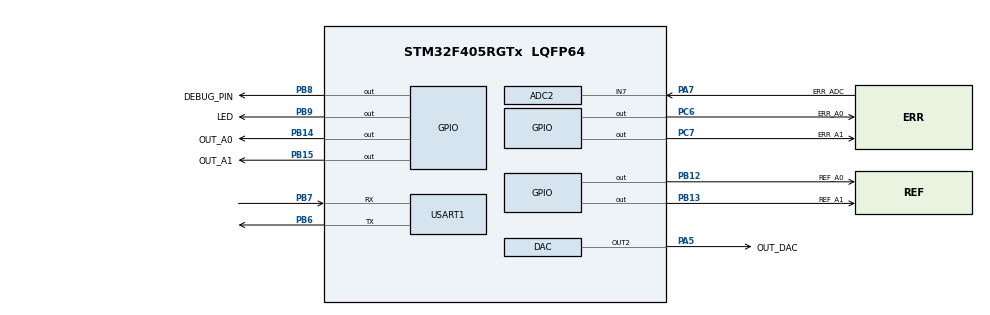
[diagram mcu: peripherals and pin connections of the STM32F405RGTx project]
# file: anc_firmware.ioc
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ADC2.Channel-0\#ChannelRegularConversion=ADC_CHANNEL_7
ADC2.ClockPrescaler=ADC_CLOCK_SYNC_PCLK_DIV4
ADC2.ExternalTrigConv=ADC_EXTERNALTRIGCONV_T2_TRGO
ADC2.NbrOfConversionFlag=1
ADC2.Rank-0\#ChannelRegularConversion=1
ADC2.SamplingTime-0\#ChannelRegularConversion=ADC_SAMPLETIME_112CYCLES
DAC.DAC_Trigger2=DAC_TRIGGER_SOFTWARE
Dma.DAC2.0.Direction=DMA_MEMORY_TO_PERIPH
Dma.DAC2.0.FIFOMode=DMA_FIFOMODE_DISABLE
Dma.DAC2.0.Instance=DMA1_Stream6
Dma.DAC2.0.MemDataAlignment=DMA_MDATAALIGN_HALFWORD
Dma.DAC2.0.MemInc=DMA_MINC_ENABLE
Dma.DAC2.0.Mode=DMA_NORMAL
Dma.DAC2.0.PeriphDataAlignment=DMA_PDATAALIGN_HALFWORD
Dma.DAC2.0.PeriphInc=DMA_PINC_DISABLE
Dma.DAC2.0.Priority=DMA_PRIORITY_LOW
Dma.Request0=DAC2
Dma.Request1=USART1_TX
Dma.USART1_TX.1.Direction=DMA_MEMORY_TO_PERIPH
Dma.USART1_TX.1.FIFOMode=DMA_FIFOMODE_DISABLE
Dma.USART1_TX.1.Instance=DMA2_Stream7
Dma.USART1_TX.1.MemDataAlignment=DMA_MDATAALIGN_BYTE
Dma.USART1_TX.1.MemInc=DMA_MINC_ENABLE
Dma.USART1_TX.1.Mode=DMA_NORMAL
Dma.USART1_TX.1.PeriphDataAlignment=DMA_PDATAALIGN_BYTE
Dma.USART1_TX.1.PeriphInc=DMA_PINC_DISABLE
Dma.USART1_TX.1.Priority=DMA_PRIORITY_HIGH
Mcu.Family=STM32F4
Mcu.Name=STM32F405RGTx
Mcu.Package=LQFP64
NVIC.ADC_IRQn=true\:0\:0\:false\:false\:true\:true\:true
NVIC.DMA1_Stream6_IRQn=true\:0\:0\:false\:false\:true\:false\:true
NVIC.DMA2_Stream7_IRQn=true\:0\:0\:false\:false\:true\:false\:true
NVIC.PriorityGroup=NVIC_PRIORITYGROUP_4
PA13.Mode=Trace_Asynchronous_SW
PA13.Signal=SYS_JTMS-SWDIO
PA14.Mode=Trace_Asynchronous_SW
PA14.Signal=SYS_JTCK-SWCLK
PA5.GPIO_Label=OUT_DAC
PA5.Signal=COMP_DAC2_group
PA7.GPIO_Label=ERR_ADC
PA7.Signal=ADCx_IN7
PB12.GPIO_Label=REF_A0
PB12.Signal=GPIO_Output
PB13.GPIO_Label=REF_A1
PB13.Signal=GPIO_Output
PB14.GPIO_Label=OUT_A0
PB14.Signal=GPIO_Output
PB15.GPIO_Label=OUT_A1
PB15.Signal=GPIO_Output
PB3.Mode=Trace_Asynchronous_SW
PB3.Signal=SYS_JTDO-SWO
PB6.Mode=Asynchronous
PB6.Signal=USART1_TX
PB7.Mode=Asynchronous
PB7.Signal=USART1_RX
PB8.GPIO_Label=DEBUG_PIN
PB8.GPIO_Speed=GPIO_SPEED_FREQ_HIGH
PB8.Signal=GPIO_Output
PB9.GPIO_Label=LED
PB9.Signal=GPIO_Output
PC6.GPIO_Label=ERR_A0
PC6.Signal=GPIO_Output
PC7.GPIO_Label=ERR_A1
PC7.Signal=GPIO_Output
PH0-OSC_IN.Mode=HSE-External-Oscillator
PH0-OSC_IN.Signal=RCC_OSC_IN
PH1-OSC_OUT.Mode=HSE-External-Oscillator
PH1-OSC_OUT.Signal=RCC_OSC_OUT
ProjectManager.HeapSize=0x200
ProjectManager.StackSize=0x400
ProjectManager.TargetToolchain=STM32CubeIDE
RCC.48MHZClocksFreq_Value=84000000
RCC.AHBFreq_Value=168000000
RCC.APB1CLKDivider=RCC_HCLK_DIV4
RCC.APB1Freq_Value=42000000
RCC.APB1TimFreq_Value=84000000
RCC.APB2CLKDivider=RCC_HCLK_DIV16
RCC.APB2Freq_Value=10500000
RCC.APB2TimFreq_Value=21000000
RCC.CortexFreq_Value=168000000
RCC.HCLKFreq_Value=168000000
RCC.HSE_VALUE=16000000
RCC.HSI_VALUE=16000000
RCC.LSE_VALUE=32768
RCC.PLLM=8
RCC.PLLN=168
RCC.PLLSourceVirtual=RCC_PLLSOURCE_HSE
RCC.SYSCLKFreq_VALUE=168000000
RCC.SYSCLKSource=RCC_SYSCLKSOURCE_PLLCLK
RCC.VCOOutputFreq_Value=336000000
SH.ADCx_IN7.0=ADC2_IN7,IN7
SH.COMP_DAC2_group.0=DAC_OUT2,DAC_OUT2
TIM2.Period=4
TIM2.Prescaler=1049
TIM2.TIM_MasterOutputTrigger=TIM_TRGO_UPDATE
USART1.VirtualMode=VM_ASYNC
VP_TIM2_VS_ClockSourceINT.Mode=Internal
board=custom

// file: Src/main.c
/* USER CODE BEGIN Header */
/**
  ******************************************************************************
  * @file           : main.c
  * @brief          : Main program body
  ******************************************************************************
  ** This notice applies to any and all portions of this file
  * that are not between comment pairs USER CODE BEGIN and
  * USER CODE END. Other portions of this file, whether
  * inserted by the user or by software development tools
  * are owned by their respective copyright owners.
  *
  * COPYRIGHT(c) 2019 STMicroelectronics
  *
  * Redistribution and use in source and binary forms, with or without modification,
  * are permitted provided that the following conditions are met:
  *   1. Redistributions of source code must retain the above copyright notice,
  *      this list of conditions and the following disclaimer.
  *   2. Redistributions in binary form must reproduce the above copyright notice,
  *      this list of conditions and the following disclaimer in the documentation
  *      and/or other materials provided with the distribution.
  *   3. Neither the name of STMicroelectronics nor the names of its contributors
  *      may be used to endorse or promote products derived from this software
  *      without specific prior written permission.
  *
  * THIS SOFTWARE IS PROVIDED BY THE COPYRIGHT HOLDERS AND CONTRIBUTORS "AS IS"
  * AND ANY EXPRESS OR IMPLIED WARRANTIES, INCLUDING, BUT NOT LIMITED TO, THE
  * IMPLIED WARRANTIES OF MERCHANTABILITY AND FITNESS FOR A PARTICULAR PURPOSE ARE
  * DISCLAIMED. IN NO EVENT SHALL THE COPYRIGHT HOLDER OR CONTRIBUTORS BE LIABLE
  * FOR ANY DIRECT, INDIRECT, INCIDENTAL, SPECIAL, EXEMPLARY, OR CONSEQUENTIAL
  * DAMAGES (INCLUDING, BUT NOT LIMITED TO, PROCUREMENT OF SUBSTITUTE GOODS OR
  * SERVICES; LOSS OF USE, DATA, OR PROFITS; OR BUSINESS INTERRUPTION) HOWEVER
  * CAUSED AND ON ANY THEORY OF LIABILITY, WHETHER IN CONTRACT, STRICT LIABILITY,
  * OR TORT (INCLUDING NEGLIGENCE OR OTHERWISE) ARISING IN ANY WAY OUT OF THE USE
  * OF THIS SOFTWARE, EVEN IF ADVISED OF THE POSSIBILITY OF SUCH DAMAGE.
  *
  ******************************************************************************
  */
/* USER CODE END Header */

#include "main.h"
#include "adc.h"
#include "dac.h"
#include "dma.h"
#include "tim.h"
#include "usart.h"
#include "gpio.h"

/* USER CODE BEGIN Includes */
#include <string.h>
#include <stdio.h>
/* USER CODE END Includes */

/* USER CODE BEGIN PD */

#define N_SAMPLES		16000

/* USER CODE END PD */

void SystemClock_Config(void);
/* USER CODE BEGIN PFP */
void SendResult(void);
/* USER CODE END PFP */

/* USER CODE BEGIN 0 */

volatile int anc_enabled 		= 0;

extern volatile int anc_acquire_cnt;

extern volatile uint16_t adc_buffer[N_SAMPLES];
extern volatile uint16_t dac_buffer[N_SAMPLES];

/* USER CODE END 0 */

int main(void)
{

  /* MCU Configuration--------------------------------------------------------*/

  /* Reset of all peripherals, Initializes the Flash interface and the Systick. */
  HAL_Init();

  /* Configure the system clock */
  SystemClock_Config();

  /* Initialize all configured peripherals */
  MX_GPIO_Init();
  MX_DMA_Init();
  MX_ADC2_Init();
  MX_DAC_Init();
  MX_TIM2_Init();
  MX_USART1_UART_Init();
  /* USER CODE BEGIN 2 */
/*
  LL_TIM_EnableCounter(TIM2);
  LL_DAC_Enable(DAC, LL_DAC_CHANNEL_1);
  LL_DAC_EnableTrigger(DAC, LL_DAC_CHANNEL_1);
  LL_DAC_DMA_GetRegAddr()
  LL_DMA_SetDataLength(DMA1, LL_DMA_STREAM_6, 32);
  LL_DMA_SetMemoryAddress()
  LL_DMA_SetMemory1Address()
  LL_DAC_EnableDMAReq();
*/
  LL_GPIO_ResetOutputPin(REF_A0_GPIO_Port, REF_A0_Pin);
  LL_GPIO_ResetOutputPin(REF_A1_GPIO_Port, REF_A1_Pin);
  LL_GPIO_ResetOutputPin(OUT_A0_GPIO_Port, OUT_A0_Pin);
  LL_GPIO_ResetOutputPin(OUT_A1_GPIO_Port, OUT_A1_Pin);
  LL_GPIO_ResetOutputPin(ERR_A0_GPIO_Port, ERR_A0_Pin);
  //LL_GPIO_SetOutputPin(ERR_A0_GPIO_Port, ERR_A0_Pin);
  //LL_GPIO_ResetOutputPin(ERR_A1_GPIO_Port, ERR_A1_Pin);
  LL_GPIO_SetOutputPin(ERR_A0_GPIO_Port, ERR_A0_Pin);
  LL_GPIO_SetOutputPin(ERR_A1_GPIO_Port, ERR_A1_Pin);

  //while(1);

  LL_ADC_Enable(ADC2);
  LL_ADC_EnableIT_EOCS(ADC2);
  LL_DAC_Enable(DAC, LL_DAC_CHANNEL_2);
  //LL_DAC_EnableTrigger(DAC, LL_DAC_CHANNEL_1);
  LL_TIM_EnableCounter(TIM2);
  LL_GPIO_ResetOutputPin(LED_GPIO_Port, LED_Pin);

  /* USER CODE END 2 */

  /* Infinite loop */
  while (1)
  {

    /* USER CODE BEGIN 3 */

	  char data[20];

	  if (HAL_UART_Receive(&huart1, (uint8_t*)data, 1, HAL_MAX_DELAY) == HAL_OK)
	  {
		  if (data[0] == '0')
		  {
			  anc_enabled = 0;
			  LL_DAC_ConvertData12RightAligned(DAC, LL_DAC_CHANNEL_2, (uint32_t)2048);
			  LL_GPIO_SetOutputPin(LED_GPIO_Port, LED_Pin);
		  }
		  else if (data[0] == '1')
		  {
			  anc_enabled = 1;
			  LL_GPIO_ResetOutputPin(LED_GPIO_Port, LED_Pin);
		  }
		  else if (data[0] == 'm')
		  {
			  anc_acquire_cnt = 0;
		  }
		  else if (data[0] == 'a')
		  {
			  SendResult();
		  }
	  }

	  LL_GPIO_TogglePin(LED_GPIO_Port, LED_Pin);

	  LL_mDelay(200);
  }
  /* USER CODE END 3 */
}

void SystemClock_Config(void)
{
  LL_FLASH_SetLatency(LL_FLASH_LATENCY_5);

  if(LL_FLASH_GetLatency() != LL_FLASH_LATENCY_5)
  {
  Error_Handler();
  }
  LL_PWR_SetRegulVoltageScaling(LL_PWR_REGU_VOLTAGE_SCALE1);
  LL_RCC_HSE_Enable();

   /* Wait till HSE is ready */
  while(LL_RCC_HSE_IsReady() != 1)
  {

  }
  LL_RCC_PLL_ConfigDomain_SYS(LL_RCC_PLLSOURCE_HSE, LL_RCC_PLLM_DIV_8, 168, LL_RCC_PLLP_DIV_2);
  LL_RCC_PLL_Enable();

   /* Wait till PLL is ready */
  while(LL_RCC_PLL_IsReady() != 1)
  {

  }
  LL_RCC_SetAHBPrescaler(LL_RCC_SYSCLK_DIV_1);
  LL_RCC_SetAPB1Prescaler(LL_RCC_APB1_DIV_4);
  LL_RCC_SetAPB2Prescaler(LL_RCC_APB2_DIV_16);
  LL_RCC_SetSysClkSource(LL_RCC_SYS_CLKSOURCE_PLL);

   /* Wait till System clock is ready */
  while(LL_RCC_GetSysClkSource() != LL_RCC_SYS_CLKSOURCE_STATUS_PLL)
  {

  }
  LL_Init1msTick(168000000);
  LL_SYSTICK_SetClkSource(LL_SYSTICK_CLKSOURCE_HCLK);
  LL_SetSystemCoreClock(168000000);
}

/* USER CODE BEGIN 4 */

void SendResult(void)
{
	char output_buf[40];
	int i;
	sprintf(output_buf, "Process ANC data (%s):\nADC,DAC\n", anc_enabled ? "ON" : "OFF");
	while(HAL_UART_Transmit(&huart1, (uint8_t*)output_buf, strlen(output_buf), 1000) != HAL_OK);
	while(anc_acquire_cnt < N_SAMPLES);	// wait until all samples are acquired
	for (i = 0; i < N_SAMPLES; i++)
	{
		sprintf(output_buf, "%u,%u\n", adc_buffer[i], dac_buffer[i]);

		if (HAL_UART_Transmit(&huart1, (uint8_t*)output_buf, strlen(output_buf), 100) != HAL_OK)
		{
			sprintf(output_buf, "ERR\n");
			while(HAL_UART_Transmit(&huart1, (uint8_t*)output_buf, strlen(output_buf), 1000) != HAL_OK);
		}
	}
	sprintf(output_buf, "EOF");
	while(HAL_UART_Transmit(&huart1, (uint8_t*)output_buf, strlen(output_buf), 1000) != HAL_OK);
}

/* USER CODE END 4 */

void Error_Handler(void)
{
}

/************************ (C) COPYRIGHT STMicroelectronics *****END OF FILE****/
